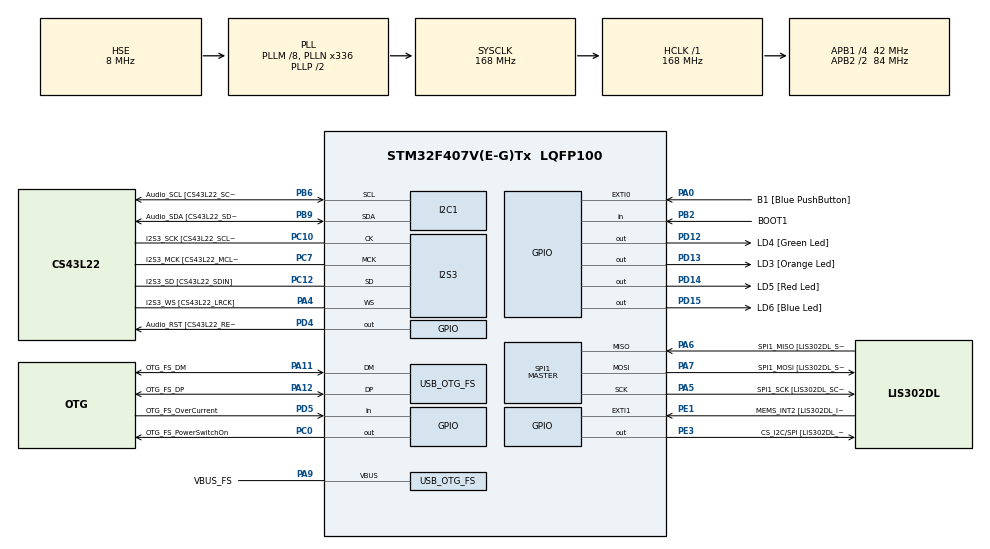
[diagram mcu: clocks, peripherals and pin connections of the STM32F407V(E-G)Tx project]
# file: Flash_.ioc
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I2S3.AudioFreq-Half_Duplex_Master=I2S_AUDIOFREQ_96K
I2S3.ErrorAudioFreq=-2.34 %
I2S3.ErrorAudioFreq-Half_Duplex_Master=0.8 %
I2S3.FullDuplexMode=I2S_FULLDUPLEXMODE_DISABLE
I2S3.Instance=SPI$Index
I2S3.RealAudioFreq=93.75 KHz
I2S3.RealAudioFreq-Half_Duplex_Master=96.774 KHz
I2S3.VirtualMode=I2S_MODE_MASTER
Mcu.Family=STM32F4
Mcu.Name=STM32F407V(E-G)Tx
Mcu.Package=LQFP100
NVIC.OTG_FS_IRQn=true\:0\:0\:false\:false\:true\:true\:true\:true
NVIC.PriorityGroup=NVIC_PRIORITYGROUP_0
PA0-WKUP.GPIO_Label=B1 [Blue PushButton]
PA0-WKUP.GPIO_ModeDefaultEXTI=GPIO_MODE_EVT_RISING
PA0-WKUP.GPIO_PuPd=GPIO_NOPULL
PA0-WKUP.Signal=GPXTI0
PA10.GPIO_Label=OTG_FS_ID
PA10.GPIO_Mode=GPIO_MODE_AF_PP
PA10.GPIO_PuPd=GPIO_NOPULL
PA10.GPIO_Speed=GPIO_SPEED_FREQ_LOW
PA10.Signal=USB_OTG_FS_ID
PA11.GPIO_Label=OTG_FS_DM
PA11.GPIO_Mode=GPIO_MODE_AF_PP
PA11.GPIO_PuPd=GPIO_NOPULL
PA11.GPIO_Speed=GPIO_SPEED_FREQ_LOW
PA11.Mode=Host_Only
PA11.Signal=USB_OTG_FS_DM
PA12.GPIO_Label=OTG_FS_DP
PA12.GPIO_Mode=GPIO_MODE_AF_PP
PA12.GPIO_PuPd=GPIO_NOPULL
PA12.GPIO_Speed=GPIO_SPEED_FREQ_LOW
PA12.Mode=Host_Only
PA12.Signal=USB_OTG_FS_DP
PA13.GPIO_Label=SWDIO
PA13.Mode=Serial_Wire
PA13.Signal=SYS_JTMS-SWDIO
PA14.GPIO_Label=SWCLK
PA14.Mode=Serial_Wire
PA14.Signal=SYS_JTCK-SWCLK
PA4.GPIO_Label=I2S3_WS [CS43L22_LRCK]
PA4.GPIO_Mode=GPIO_MODE_AF_PP
PA4.GPIO_PuPd=GPIO_NOPULL
PA4.GPIO_Speed=GPIO_SPEED_FREQ_LOW
PA4.Mode=Half_Duplex_Master
PA4.Signal=I2S3_WS
PA5.GPIO_Label=SPI1_SCK [LIS302DL_SCL/SPC]
PA5.GPIO_Mode=GPIO_MODE_AF_PP
PA5.GPIO_PuPd=GPIO_NOPULL
PA5.GPIO_Speed=GPIO_SPEED_FREQ_LOW
PA5.Mode=Full_Duplex_Master
PA5.Signal=SPI1_SCK
PA6.GPIO_Label=SPI1_MISO [LIS302DL_SDO]
PA6.GPIO_Mode=GPIO_MODE_AF_PP
PA6.GPIO_PuPd=GPIO_NOPULL
PA6.GPIO_Speed=GPIO_SPEED_FREQ_LOW
PA6.Mode=Full_Duplex_Master
PA6.Signal=SPI1_MISO
PA7.GPIO_Label=SPI1_MOSI [LIS302DL_SDA/SDI/SDO]
PA7.GPIO_Mode=GPIO_MODE_AF_PP
PA7.GPIO_PuPd=GPIO_NOPULL
PA7.GPIO_Speed=GPIO_SPEED_FREQ_LOW
PA7.Mode=Full_Duplex_Master
PA7.Signal=SPI1_MOSI
PA9.GPIO_Label=VBUS_FS
PA9.GPIO_Mode=GPIO_MODE_INPUT
PA9.GPIO_PuPd=GPIO_NOPULL
PA9.Mode=Activate_VBUS
PA9.Signal=USB_OTG_FS_VBUS
PB10.GPIO_Label=CLK_IN [MP45DT02_CLK]
PB10.GPIO_Mode=GPIO_MODE_AF_PP
PB10.GPIO_PuPd=GPIO_NOPULL
PB10.GPIO_Speed=GPIO_SPEED_FREQ_LOW
PB10.Signal=I2S2_CK
PB2.GPIO_Label=BOOT1
PB2.GPIO_Mode=GPIO_MODE_INPUT
PB2.GPIO_PuPd=GPIO_NOPULL
PB2.Signal=GPIO_Input
PB3.GPIO_Label=SWO
PB3.Signal=SYS_JTDO-SWO
PB6.GPIO_Label=Audio_SCL [CS43L22_SCL]
PB6.GPIO_Mode=GPIO_MODE_AF_OD
PB6.GPIO_Pu=GPIO_PULLUP
PB6.GPIO_PuPd=GPIO_NOPULL
PB6.GPIO_Speed=GPIO_SPEED_FREQ_LOW
PB6.Mode=I2C
PB6.Signal=I2C1_SCL
PB9.GPIO_Label=Audio_SDA [CS43L22_SDA]
PB9.GPIO_Mode=GPIO_MODE_AF_OD
PB9.GPIO_Pu=GPIO_PULLUP
PB9.GPIO_PuPd=GPIO_NOPULL
PB9.GPIO_Speed=GPIO_SPEED_FREQ_LOW
PB9.Mode=I2C
PB9.Signal=I2C1_SDA
PC0.GPIO_Label=OTG_FS_PowerSwitchOn
PC0.GPIO_PuPd=GPIO_NOPULL
PC0.GPIO_Speed=GPIO_SPEED_FREQ_LOW
PC0.PinState=GPIO_PIN_SET
PC0.Signal=GPIO_Output
PC10.GPIO_Label=I2S3_SCK [CS43L22_SCLK]
PC10.GPIO_Mode=GPIO_MODE_AF_PP
PC10.GPIO_PuPd=GPIO_NOPULL
PC10.GPIO_Speed=GPIO_SPEED_FREQ_LOW
PC10.Mode=Half_Duplex_Master
PC10.Signal=I2S3_CK
PC12.GPIO_Label=I2S3_SD [CS43L22_SDIN]
PC12.GPIO_Mode=GPIO_MODE_AF_PP
PC12.GPIO_PuPd=GPIO_NOPULL
PC12.GPIO_Speed=GPIO_SPEED_FREQ_LOW
PC12.Mode=Half_Duplex_Master
PC12.Signal=I2S3_SD
PC14-OSC32_IN.GPIO_Label=PC14-OSC32_IN
PC14-OSC32_IN.Mode=LSE-External-Oscillator
PC14-OSC32_IN.Signal=RCC_OSC32_IN
PC15-OSC32_OUT.GPIO_Label=PC15-OSC32_OUT
PC15-OSC32_OUT.Mode=LSE-External-Oscillator
PC15-OSC32_OUT.Signal=RCC_OSC32_OUT
PC3.GPIO_Label=PDM_OUT [MP45DT02_DOUT]
PC3.GPIO_Mode=GPIO_MODE_AF_PP
PC3.GPIO_PuPd=GPIO_NOPULL
PC3.GPIO_Speed=GPIO_SPEED_FREQ_LOW
PC3.Signal=I2S2_SD
PC7.GPIO_Label=I2S3_MCK [CS43L22_MCLK]
PC7.GPIO_Mode=GPIO_MODE_AF_PP
PC7.GPIO_PuPd=GPIO_NOPULL
PC7.GPIO_Speed=GPIO_SPEED_FREQ_LOW
PC7.Mode=Master_Clock_Activated
PC7.Signal=I2S3_MCK
PD12.GPIO_Label=LD4 [Green Led]
PD12.GPIO_PuPd=GPIO_NOPULL
PD12.GPIO_Speed=GPIO_SPEED_FREQ_LOW
PD12.Signal=GPIO_Output
PD13.GPIO_Label=LD3 [Orange Led]
PD13.GPIO_PuPd=GPIO_NOPULL
PD13.GPIO_Speed=GPIO_SPEED_FREQ_LOW
PD13.Signal=GPIO_Output
PD14.GPIO_Label=LD5 [Red Led]
PD14.GPIO_PuPd=GPIO_NOPULL
PD14.GPIO_Speed=GPIO_SPEED_FREQ_LOW
PD14.Signal=GPIO_Output
PD15.GPIO_Label=LD6 [Blue Led]
PD15.GPIO_PuPd=GPIO_NOPULL
PD15.GPIO_Speed=GPIO_SPEED_FREQ_LOW
PD15.Signal=GPIO_Output
PD4.GPIO_Label=Audio_RST [CS43L22_RESET]
PD4.GPIO_PuPd=GPIO_NOPULL
PD4.GPIO_Speed=GPIO_SPEED_FREQ_LOW
PD4.Signal=GPIO_Output
PD5.GPIO_Label=OTG_FS_OverCurrent
PD5.GPIO_Mode=GPIO_MODE_INPUT
PD5.GPIO_PuPd=GPIO_NOPULL
PD5.Signal=GPIO_Input
PE1.GPIO_Label=MEMS_INT2 [LIS302DL_INT2]
PE1.GPIO_ModeDefaultEXTI=GPIO_MODE_EVT_RISING
PE1.GPIO_PuPd=GPIO_NOPULL
PE1.Signal=GPXTI1
PE3.GPIO_Label=CS_I2C/SPI [LIS302DL_CS_I2C/SPI]
PE3.GPIO_PuPd=GPIO_NOPULL
PE3.GPIO_Speed=GPIO_SPEED_FREQ_LOW
PE3.Signal=GPIO_Output
PH0-OSC_IN.GPIO_Label=PH0-OSC_IN
PH0-OSC_IN.Mode=HSE-External-Oscillator
PH0-OSC_IN.Signal=RCC_OSC_IN
PH1-OSC_OUT.GPIO_Label=PH1-OSC_OUT
PH1-OSC_OUT.Mode=HSE-External-Oscillator
PH1-OSC_OUT.Signal=RCC_OSC_OUT
ProjectManager.HeapSize=0x200
ProjectManager.StackSize=0x400
ProjectManager.TargetToolchain=STM32CubeIDE
RCC.48MHZClocksFreq_Value=48000000
RCC.AHBFreq_Value=168000000
RCC.APB1CLKDivider=RCC_HCLK_DIV4
RCC.APB1Freq_Value=42000000
RCC.APB1TimFreq_Value=84000000
RCC.APB2CLKDivider=RCC_HCLK_DIV2
RCC.APB2Freq_Value=84000000
RCC.APB2TimFreq_Value=168000000
RCC.CortexFreq_Value=168000000
RCC.HCLKFreq_Value=168000000
RCC.HSE_VALUE=8000000
RCC.HSI_VALUE=16000000
RCC.PLLM=8
RCC.PLLN=336
RCC.PLLQ=7
RCC.SYSCLKFreq_VALUE=168000000
RCC.SYSCLKSource=RCC_SYSCLKSOURCE_PLLCLK
RCC.VCOOutputFreq_Value=336000000
SPI1.BaudRatePrescaler-Full_Duplex_Master=SPI_BAUDRATEPRESCALER_2
SPI1.CalculateBaudRate-Full_Duplex_Master=42.0 MBits/s
SPI1.Direction=SPI_DIRECTION_2LINES
SPI1.Mode=SPI_MODE_MASTER
SPI1.Mode-Full_Duplex_Master=SPI_MODE_MASTER
SPI1.VirtualType=VM_MASTER
USB_HOST.BSP.number=1
USB_HOST.USBH_HandleTypeDef-CDC_FS=hUsbHostFS
USB_HOST.VirtualModeFS=Cdc
USB_HOST0.BSP.STBoard=false
USB_HOST0.BSP.api=Unknown
USB_HOST0.BSP.instance=PC0
USB_HOST0.BSP.ip=GPIO
USB_HOST0.BSP.mode=Output
USB_HOST0.BSP.name=Drive_VBUS_FS
USB_HOST0.BSP.solution=PC0
USB_OTG_FS.VirtualMode=Host_Only
USB_OTG_FS.phy_itface=HCD_PHY_EMBEDDED
VP_USB_HOST_VS_USB_HOST_CDC_FS.Mode=CDC_FS
board=STM32F407G-DISC1

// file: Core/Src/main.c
/* USER CODE BEGIN Header */
/**
  ******************************************************************************
  * @file           : main.c
  * @brief          : Main program body
  ******************************************************************************
  * @attention
  *
  * Copyright (c) 2025 STMicroelectronics.
  * All rights reserved.
  *
  * This software is licensed under terms that can be found in the LICENSE file
  * in the root directory of this software component.
  * If no LICENSE file comes with this software, it is provided AS-IS.
  *
  ******************************************************************************
  */
/* USER CODE END Header */
#include "main.h"
#include "usb_host.h"

/* USER CODE BEGIN PD */
uint32_t Adres = 0x08040000;
uint32_t data=0;

char data_char[3][4] ={"ali","veli","gala"} ;

uint32_t dt[3] ;

uint32_t adres[3]={0x080E0000,0x080E0010,0x080E0020};
/* USER CODE END PD */

I2C_HandleTypeDef hi2c1;

I2S_HandleTypeDef hi2s3;

SPI_HandleTypeDef hspi1;

void SystemClock_Config(void);
static void MX_GPIO_Init(void);
static void MX_I2C1_Init(void);
static void MX_I2S3_Init(void);
static void MX_SPI1_Init(void);
void MX_USB_HOST_Process(void);
void Flash_Write(uint32_t Flash_Address, uint32_t Flash_Data );
uint32_t Flash_Read(uint32_t Flash_Address);

int main(void)
{

  /* MCU Configuration--------------------------------------------------------*/

  /* Reset of all peripherals, Initializes the Flash interface and the Systick. */
  HAL_Init();

  /* Configure the system clock */
  SystemClock_Config();

  /* Initialize all configured peripherals */
  MX_GPIO_Init();
  MX_I2C1_Init();
  MX_I2S3_Init();
  MX_SPI1_Init();
  MX_USB_HOST_Init();
  /* USER CODE BEGIN 2 */

  for (int i = 0; i < 3; i++) {
      memcpy(&dt[i], data_char[i], 4);
      Flash_Write(adres[i], dt[i]);
  }

  /* USER CODE END 2 */

  /* Infinite loop */
  while (1)
  {
    MX_USB_HOST_Process();

    //data = Flash_Read(0x08040000);

  }
}

void SystemClock_Config(void)
{
  RCC_OscInitTypeDef RCC_OscInitStruct = {0};
  RCC_ClkInitTypeDef RCC_ClkInitStruct = {0};

  /** Configure the main internal regulator output voltage
  */
  __HAL_RCC_PWR_CLK_ENABLE();
  __HAL_PWR_VOLTAGESCALING_CONFIG(PWR_REGULATOR_VOLTAGE_SCALE1);

  /** Initializes the RCC Oscillators according to the specified parameters
  * in the RCC_OscInitTypeDef structure.
  */
  RCC_OscInitStruct.OscillatorType = RCC_OSCILLATORTYPE_HSE;
  RCC_OscInitStruct.HSEState = RCC_HSE_ON;
  RCC_OscInitStruct.PLL.PLLState = RCC_PLL_ON;
  RCC_OscInitStruct.PLL.PLLSource = RCC_PLLSOURCE_HSE;
  RCC_OscInitStruct.PLL.PLLM = 8;
  RCC_OscInitStruct.PLL.PLLN = 336;
  RCC_OscInitStruct.PLL.PLLP = RCC_PLLP_DIV2;
  RCC_OscInitStruct.PLL.PLLQ = 7;
  if (HAL_RCC_OscConfig(&RCC_OscInitStruct) != HAL_OK)
  {
    Error_Handler();
  }

  /** Initializes the CPU, AHB and APB buses clocks
  */
  RCC_ClkInitStruct.ClockType = RCC_CLOCKTYPE_HCLK|RCC_CLOCKTYPE_SYSCLK
                              |RCC_CLOCKTYPE_PCLK1|RCC_CLOCKTYPE_PCLK2;
  RCC_ClkInitStruct.SYSCLKSource = RCC_SYSCLKSOURCE_PLLCLK;
  RCC_ClkInitStruct.AHBCLKDivider = RCC_SYSCLK_DIV1;
  RCC_ClkInitStruct.APB1CLKDivider = RCC_HCLK_DIV4;
  RCC_ClkInitStruct.APB2CLKDivider = RCC_HCLK_DIV2;

  if (HAL_RCC_ClockConfig(&RCC_ClkInitStruct, FLASH_LATENCY_5) != HAL_OK)
  {
    Error_Handler();
  }
}

static void MX_I2C1_Init(void)
{

  hi2c1.Instance = I2C1;
  hi2c1.Init.ClockSpeed = 100000;
  hi2c1.Init.DutyCycle = I2C_DUTYCYCLE_2;
  hi2c1.Init.OwnAddress1 = 0;
  hi2c1.Init.AddressingMode = I2C_ADDRESSINGMODE_7BIT;
  hi2c1.Init.DualAddressMode = I2C_DUALADDRESS_DISABLE;
  hi2c1.Init.OwnAddress2 = 0;
  hi2c1.Init.GeneralCallMode = I2C_GENERALCALL_DISABLE;
  hi2c1.Init.NoStretchMode = I2C_NOSTRETCH_DISABLE;
  if (HAL_I2C_Init(&hi2c1) != HAL_OK)
  {
    Error_Handler();
  }

}

static void MX_I2S3_Init(void)
{

  hi2s3.Instance = SPI3;
  hi2s3.Init.Mode = I2S_MODE_MASTER_TX;
  hi2s3.Init.Standard = I2S_STANDARD_PHILIPS;
  hi2s3.Init.DataFormat = I2S_DATAFORMAT_16B;
  hi2s3.Init.MCLKOutput = I2S_MCLKOUTPUT_ENABLE;
  hi2s3.Init.AudioFreq = I2S_AUDIOFREQ_96K;
  hi2s3.Init.CPOL = I2S_CPOL_LOW;
  hi2s3.Init.ClockSource = I2S_CLOCK_PLL;
  hi2s3.Init.FullDuplexMode = I2S_FULLDUPLEXMODE_DISABLE;
  if (HAL_I2S_Init(&hi2s3) != HAL_OK)
  {
    Error_Handler();
  }

}

static void MX_SPI1_Init(void)
{

  /* SPI1 parameter configuration*/
  hspi1.Instance = SPI1;
  hspi1.Init.Mode = SPI_MODE_MASTER;
  hspi1.Init.Direction = SPI_DIRECTION_2LINES;
  hspi1.Init.DataSize = SPI_DATASIZE_8BIT;
  hspi1.Init.CLKPolarity = SPI_POLARITY_LOW;
  hspi1.Init.CLKPhase = SPI_PHASE_1EDGE;
  hspi1.Init.NSS = SPI_NSS_SOFT;
  hspi1.Init.BaudRatePrescaler = SPI_BAUDRATEPRESCALER_2;
  hspi1.Init.FirstBit = SPI_FIRSTBIT_MSB;
  hspi1.Init.TIMode = SPI_TIMODE_DISABLE;
  hspi1.Init.CRCCalculation = SPI_CRCCALCULATION_DISABLE;
  hspi1.Init.CRCPolynomial = 10;
  if (HAL_SPI_Init(&hspi1) != HAL_OK)
  {
    Error_Handler();
  }

}

static void MX_GPIO_Init(void)
{
  GPIO_InitTypeDef GPIO_InitStruct = {0};

  /* GPIO Ports Clock Enable */
  __HAL_RCC_GPIOE_CLK_ENABLE();
  __HAL_RCC_GPIOC_CLK_ENABLE();
  __HAL_RCC_GPIOH_CLK_ENABLE();
  __HAL_RCC_GPIOA_CLK_ENABLE();
  __HAL_RCC_GPIOB_CLK_ENABLE();
  __HAL_RCC_GPIOD_CLK_ENABLE();

  /*Configure GPIO pin Output Level */
  HAL_GPIO_WritePin(CS_I2C_SPI_GPIO_Port, CS_I2C_SPI_Pin, GPIO_PIN_RESET);

  /*Configure GPIO pin Output Level */
  HAL_GPIO_WritePin(OTG_FS_PowerSwitchOn_GPIO_Port, OTG_FS_PowerSwitchOn_Pin, GPIO_PIN_SET);

  /*Configure GPIO pin Output Level */
  HAL_GPIO_WritePin(GPIOD, LD4_Pin|LD3_Pin|LD5_Pin|LD6_Pin
                          |Audio_RST_Pin, GPIO_PIN_RESET);

  /*Configure GPIO pin : CS_I2C_SPI_Pin */
  GPIO_InitStruct.Pin = CS_I2C_SPI_Pin;
  GPIO_InitStruct.Mode = GPIO_MODE_OUTPUT_PP;
  GPIO_InitStruct.Pull = GPIO_NOPULL;
  GPIO_InitStruct.Speed = GPIO_SPEED_FREQ_LOW;
  HAL_GPIO_Init(CS_I2C_SPI_GPIO_Port, &GPIO_InitStruct);

  /*Configure GPIO pin : OTG_FS_PowerSwitchOn_Pin */
  GPIO_InitStruct.Pin = OTG_FS_PowerSwitchOn_Pin;
  GPIO_InitStruct.Mode = GPIO_MODE_OUTPUT_PP;
  GPIO_InitStruct.Pull = GPIO_NOPULL;
  GPIO_InitStruct.Speed = GPIO_SPEED_FREQ_LOW;
  HAL_GPIO_Init(OTG_FS_PowerSwitchOn_GPIO_Port, &GPIO_InitStruct);

  /*Configure GPIO pin : PDM_OUT_Pin */
  GPIO_InitStruct.Pin = PDM_OUT_Pin;
  GPIO_InitStruct.Mode = GPIO_MODE_AF_PP;
  GPIO_InitStruct.Pull = GPIO_NOPULL;
  GPIO_InitStruct.Speed = GPIO_SPEED_FREQ_LOW;
  GPIO_InitStruct.Alternate = GPIO_AF5_SPI2;
  HAL_GPIO_Init(PDM_OUT_GPIO_Port, &GPIO_InitStruct);

  /*Configure GPIO pin : B1_Pin */
  GPIO_InitStruct.Pin = B1_Pin;
  GPIO_InitStruct.Mode = GPIO_MODE_EVT_RISING;
  GPIO_InitStruct.Pull = GPIO_NOPULL;
  HAL_GPIO_Init(B1_GPIO_Port, &GPIO_InitStruct);

  /*Configure GPIO pin : BOOT1_Pin */
  GPIO_InitStruct.Pin = BOOT1_Pin;
  GPIO_InitStruct.Mode = GPIO_MODE_INPUT;
  GPIO_InitStruct.Pull = GPIO_NOPULL;
  HAL_GPIO_Init(BOOT1_GPIO_Port, &GPIO_InitStruct);

  /*Configure GPIO pin : CLK_IN_Pin */
  GPIO_InitStruct.Pin = CLK_IN_Pin;
  GPIO_InitStruct.Mode = GPIO_MODE_AF_PP;
  GPIO_InitStruct.Pull = GPIO_NOPULL;
  GPIO_InitStruct.Speed = GPIO_SPEED_FREQ_LOW;
  GPIO_InitStruct.Alternate = GPIO_AF5_SPI2;
  HAL_GPIO_Init(CLK_IN_GPIO_Port, &GPIO_InitStruct);

  /*Configure GPIO pins : LD4_Pin LD3_Pin LD5_Pin LD6_Pin
                           Audio_RST_Pin */
  GPIO_InitStruct.Pin = LD4_Pin|LD3_Pin|LD5_Pin|LD6_Pin
                          |Audio_RST_Pin;
  GPIO_InitStruct.Mode = GPIO_MODE_OUTPUT_PP;
  GPIO_InitStruct.Pull = GPIO_NOPULL;
  GPIO_InitStruct.Speed = GPIO_SPEED_FREQ_LOW;
  HAL_GPIO_Init(GPIOD, &GPIO_InitStruct);

  /*Configure GPIO pin : OTG_FS_OverCurrent_Pin */
  GPIO_InitStruct.Pin = OTG_FS_OverCurrent_Pin;
  GPIO_InitStruct.Mode = GPIO_MODE_INPUT;
  GPIO_InitStruct.Pull = GPIO_NOPULL;
  HAL_GPIO_Init(OTG_FS_OverCurrent_GPIO_Port, &GPIO_InitStruct);

  /*Configure GPIO pin : MEMS_INT2_Pin */
  GPIO_InitStruct.Pin = MEMS_INT2_Pin;
  GPIO_InitStruct.Mode = GPIO_MODE_EVT_RISING;
  GPIO_InitStruct.Pull = GPIO_NOPULL;
  HAL_GPIO_Init(MEMS_INT2_GPIO_Port, &GPIO_InitStruct);

}

/* USER CODE BEGIN 4 */
void Flash_Write(uint32_t Flash_Address, uint32_t Flash_Data )
{

	HAL_FLASH_Unlock();
	FLASH_Erase_Sector(FLASH_SECTOR_11, VOLTAGE_RANGE_3); // FLASH_SECTOR_11 silmek istediğin sector, voltage_range3 sabit parametre
	HAL_FLASH_Program(FLASH_TYPEPROGRAM_WORD, Flash_Address, Flash_Data);
	HAL_FLASH_Lock();

}

uint32_t Flash_Read(uint32_t Flash_Address){

	uint32_t Flash_Data;

	Flash_Data = *(uint32_t*) Flash_Address;

	return Flash_Data;

}
/* USER CODE END 4 */

void Error_Handler(void)
{
  __disable_irq();
  while (1)
  {
  }
}
